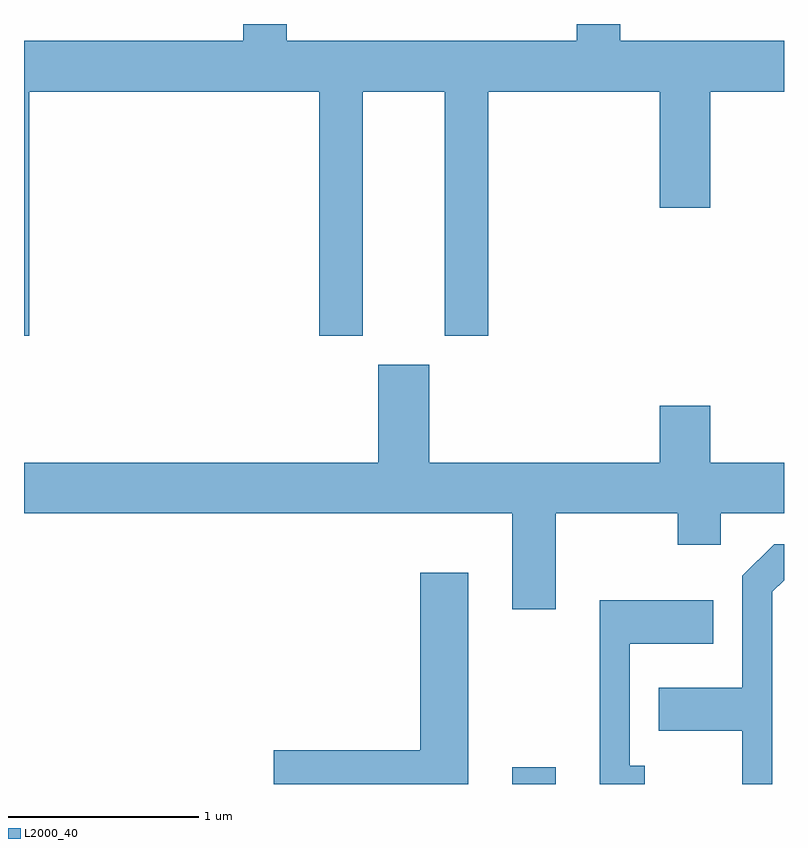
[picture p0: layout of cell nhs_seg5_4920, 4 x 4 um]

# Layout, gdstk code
import gdstk
lib = gdstk.Library(unit=1e-6, precision=1e-09)
def R(c, l, rs):  # rectangles x0, y0, x1, y1
    for r in rs: c.add(gdstk.rectangle(r[:2], r[2:], *l))
def P(c, l, *ps):  # polygons
    for p in ps: c.add(gdstk.Polygon(p, *l))
L2000_40 = (2000, 40)

nhs_seg5_4920 = lib.new_cell('nhs_seg5_4920')
R(nhs_seg5_4920, L2000_40, [(334.181,1422.072,334.409,1422.159)])
P(nhs_seg5_4920, L2000_40, [(331.639,1425.716),(333.166,1425.716),(333.166,1424.431),(333.394,1424.431),(333.394,1425.716),(333.826,1425.716),(333.826,1424.431),(334.054,1424.431),(334.054,1425.716),(334.956,1425.716),(334.956,1425.106),(335.224,1425.106),(335.224,1425.716),(335.611,1425.716),(335.611,1425.984),(334.749,1425.984),(334.749,1426.072),(334.521,1426.072),(334.521,1425.984),(332.994,1425.984),(332.994,1426.072),(332.766,1426.072),(332.766,1425.984),(331.611,1425.984),(331.611,1424.431),(331.639,1424.431)],
  [(334.409,1423.496),(335.051,1423.496),(335.051,1423.331),(335.279,1423.331),(335.279,1423.496),(335.611,1423.496),(335.611,1423.764),(335.224,1423.764),(335.224,1424.064),(334.956,1424.064),(334.956,1423.764),(333.744,1423.764),(333.744,1424.279),(333.476,1424.279),(333.476,1423.764),(331.611,1423.764),(331.611,1423.496),(334.181,1423.496),(334.181,1422.991),(334.409,1422.991)],
  [(335.549,1423.084),(335.611,1423.145),(335.611,1423.334),(335.559,1423.334),(335.391,1423.167),(335.391,1422.579),(334.951,1422.579),(334.951,1422.351),(335.391,1422.351),(335.391,1422.072),(335.549,1422.072)],
  [(333.949,1423.184),(333.696,1423.184),(333.696,1422.249),(332.926,1422.249),(332.926,1422.072),(333.949,1422.072)],
  [(334.878,1422.169),(334.799,1422.169),(334.799,1422.811),(335.239,1422.811),(335.239,1423.039),(334.641,1423.039),(334.641,1422.072),(334.878,1422.072)])

lib.write_gds('nhs_seg5_4920.gds')
